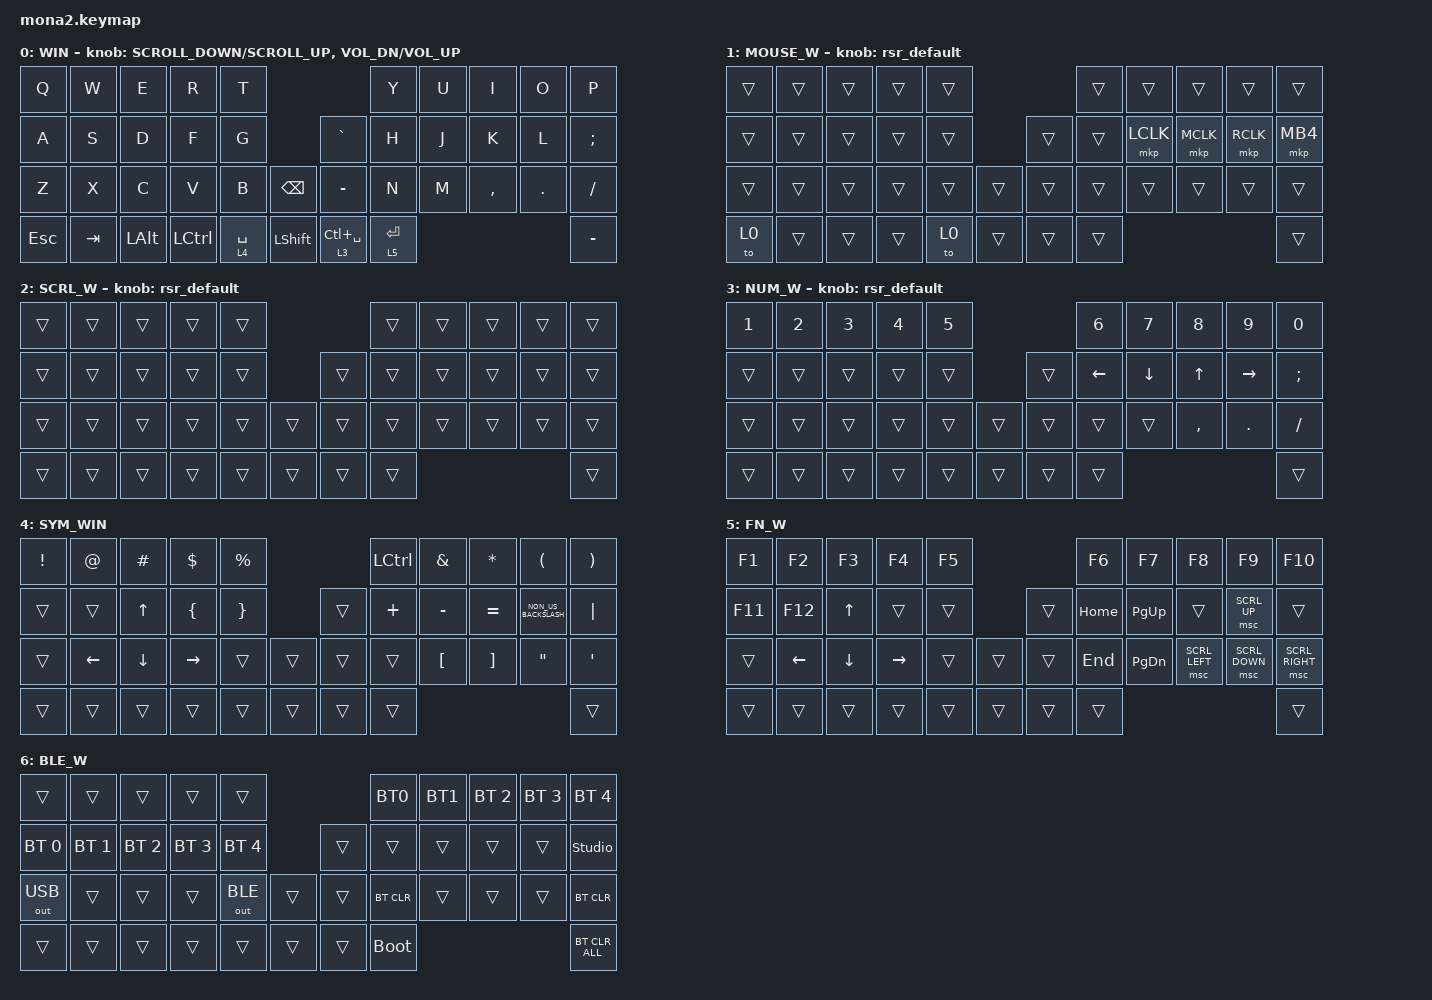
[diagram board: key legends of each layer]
#include <input/processors.dtsi>
#include <dt-bindings/zmk/input_transform.h>
#include <zephyr/dt-bindings/input/input-event-codes.h>
#include <behaviors/runtime-sensor-rotate.dtsi>

/* DYA Studio から作成したマクロを呼び出す `&rmacro <slot>` を定義する。
   slot は 0 〜 CONFIG_ZMK_RUNTIME_MACRO_COUNT-1 (現状 0〜7)。
   どのマクロがどのスロットに入っているかは DYA Studio のマクロ一覧で確認する。
   キーへの割り当ては DYA Studio のキーマップエディタからも行える。 */

#include <behaviors/runtime_macro.dtsi>

/* デフォルトレイヤー変更 behavior `&df`。
   DYA Studio の「OSごとのデフォルトレイヤー」から設定できるほか、
   キーマップエディタで `&df DF_SEL <layer>` / `&df DF_INC` を
   任意のキーに割り当てられる。 */

#include <behaviors/default_layer.dtsi>
#include <dt-bindings/zmk_behavior_default_layer/default_layer.h>
#include <behaviors.dtsi>
#include <dt-bindings/zmk/bt.h>
#include <dt-bindings/zmk/keys.h>
#include <dt-bindings/zmk/outputs.h>
#include <dt-bindings/zmk/pointing.h>

/* ZMK 側で 10 が定義済みなので警告回避のため一旦 undef */

#undef ZMK_POINTING_DEFAULT_SCRL_VAL

#define ZMK_POINTING_DEFAULT_SCRL_VAL 100

/ {
    behaviors {
        mg_set_0: behavior_mg_set_0 {
            compatible = "zmk,behavior-mg-set-fixed";
            #binding-cells = <0>;
            display-name = "Mouse Gesture Key 0";
        };

        mg_set_1: behavior_mg_set_1 {
            compatible = "zmk,behavior-mg-set-fixed";
            #binding-cells = <0>;
            display-name = "Mouse Gesture Key 1";
        };

        mg_set_2: behavior_mg_set_2 {
            compatible = "zmk,behavior-mg-set-fixed";
            #binding-cells = <0>;
            display-name = "Mouse Gesture Key 2";
        };
    };
};

&mt {
    flavor = "balanced";
    quick-tap-ms = <0>;
};

&lt {
    quick-tap-ms = <200>;
    flavor = "balanced";
};

&msc {
    delay-ms = <0>;
    time-to-max-speed-ms = <0>;
    acceleration-exponent = <0>;
};

/ {
    /* ─────────────────────────────────────────────────────────────
       コンボ (DYA Studio から編集可能)

       旧 `combos { compatible = "zmk,combos"; }` はコンパイル時固定で
       DYA Studio から編集できないため、zmk-feature-runtime-combo の
       「コンパイル時デフォルト」ノードへ移行した。
       ここに書いた内容はフラッシュ直後から有効で、設定を消しても復活する。
       DYA Studio 側で編集するとそのスロットだけ上書きされ、
       Web UI の "Reset to Default" でここの値へ戻せる。

       スロット総数は CONFIG_ZMK_RUNTIME_COMBO_MAX_COMBOS (現状 16)。
       未使用スロット (2〜15) は DYA Studio から自由に追加できる。
       ────────────────────────────────────────────────────────── */

    runtime_combo_defaults {
        compatible = "cormoran,runtime-combo-defaults";

        layer4_ESC {
            slot = <0>;
            display-name = "Layer4 ESC";
            key-positions = <38 39>;
            bindings = <&lt 4 ESC>;
        };

        tab {
            slot = <1>;
            display-name = "Tab";
            key-positions = <11 12>;
            bindings = <&kp TAB>;
        };
    };

    /* 静的マクロ。キーマップ上で &BT0 / &screenshot などの名前で直接
       参照しているため、そのまま残している (DYA Studio 上では編集不可)。
       DYA Studio から編集したいマクロは Web UI で新規作成し、
       キーに `&rmacro <slot>` を割り当てて使う。 */

    macros {
        to_layer_0: to_layer_0 {
            compatible = "zmk,behavior-macro-one-param";
            #binding-cells = <1>;
            bindings = <&to 0 &macro_param_1to1 &kp MACRO_PLACEHOLDER>;
            label = "TO_LAYER_0";
        };

        BT0: BT0 {
            compatible = "zmk,behavior-macro";
            #binding-cells = <0>;
            bindings =
                <&tog_off 0 &tog_off 0>,
                <&macro_wait_time 200>,
                <&bt BT_SEL 0>,
                <&macro_wait_time 500>,
                <&tog_on 0>;

            label = "BT0";
        };

        BT1: BT1 {
            compatible = "zmk,behavior-macro";
            #binding-cells = <0>;
            bindings =
                <&tog_off 0 &tog_off 0>,
                <&macro_wait_time 200>,
                <&bt BT_SEL 1>,
                <&macro_wait_time 500>,
                <&tog_on 0>;

            label = "BT1";
        };

        screenshot: screenshot {
            compatible = "zmk,behavior-macro";
            #binding-cells = <0>;
            bindings =
                <&macro_press>,
                <&kp LEFT_GUI &kp RSHIFT>,
                <&macro_wait_time 20>,
                <&macro_tap>,
                <&kp S>,
                <&macro_release>,
                <&kp LEFT_GUI &kp RSHIFT>;

            label = "SCREENSHOT";
        };

        henkan: henkan {
            compatible = "zmk,behavior-macro";
            #binding-cells = <0>;
            bindings =
                <&macro_press>,
                <&kp LEFT_ALT>,
                <&macro_wait_time 20>,
                <&macro_tap>,
                <&kp GRAVE>,
                <&macro_release>,
                <&kp LEFT_ALT>;

            label = "HENKAN";
        };
    };

    behaviors {
        lt_to_layer_0: lt_to_layer_0 {
            compatible = "zmk,behavior-hold-tap";
            label = "LAYER_TAP_TO_0";
            bindings = <&mo>, <&to_layer_0>;

            #binding-cells = <2>;
            tapping-term-ms = <200>;
        };

        tp_repeat_mo1: tp_repeat_mo1 {
            compatible = "zmk,behavior-hold-tap";
            label = "TP_REPEAT_MO1";
            bindings = <&mo>, <&key_repeat>;

            #binding-cells = <2>;
            tapping-term-ms = <200>;
        };

        // エンコーダ用 runtime-configurable sensor rotate
        // デフォルトはスクロール (cw=SCRL_DOWN, ccw=SCRL_UP)
        // DYA Studio Web UI から レイヤーごとに cw/ccw の binding を
        // kp C_VOL_UP/DN や kp LEFT/RIGHT などへ動的変更可能

        rsr_default: rsr_default {
            compatible = "zmk,behavior-runtime-sensor-rotate";
            #sensor-binding-cells = <0>;
            tap-ms = <16>;
            cw-binding = <&msc SCRL_DOWN>;
            ccw-binding = <&msc SCRL_UP>;
        };

        tog_on: toggle_layer_on_only {
            compatible = "zmk,behavior-toggle-layer";
            #binding-cells = <1>;
            display-name = "Toggle Layer On";
            toggle-mode = "on";
        };

        tog_off: toggle_layer_off_only {
            compatible = "zmk,behavior-toggle-layer";
            #binding-cells = <1>;
            display-name = "Toggle Layer Off";
            toggle-mode = "off";
        };

        zfold: zfold {
            compatible = "zmk,behavior-hold-tap";
            label = "ZFOLD";
            bindings = <&kp>, <&kp>;

            #binding-cells = <2>;
            tapping-term-ms = <300>;
            flavor = "hold-preferred";
            quick-tap-ms = <150>;
            hold-while-undecided;
        };

        zfoldZ: zfoldZ {
            compatible = "zmk,behavior-tap-dance";
            label = "ZFOLDZ";
            #binding-cells = <0>;
            bindings = <&zfold LEFT_SHIFT Z>, <&kp LS(Z)>;
        };
    };

    combos {
        compatible = "zmk,combos";

        BTLayer {
            bindings = <&lt 0 LEFT_SHIFT>;
            key-positions = <38 39>;
        };

        LGUI_Combo {
            bindings = <&kp LEFT_GUI>;
            key-positions = <21 22>;
        };

        RGUI_Combo {
            bindings = <&kp RIGHT_GUI>;
            key-positions = <32 31>;
        };

        Mouse_Keys {
            bindings = <&none>;
            key-positions = <17 18 19 20 38 37 36 33>;
        };
    };

    keymap {
        compatible = "zmk,keymap";

        win_layer {
            display-name = "WIN";
            bindings = <
&kp Q       &kp W    &kp E         &kp R             &kp T                                           &kp Y        &kp U  &kp I      &kp O    &kp P
&kp A       &kp S    &kp D         &kp F             &kp G                          &kp GRAVE        &kp H        &kp J  &kp K      &kp L    &kp SEMICOLON
&kp Z       &kp X    &kp C         &kp V             &kp B        &kp BACKSPACE     &kp MINUS        &kp N        &kp M  &kp COMMA  &kp DOT  &kp SLASH
&kp ESCAPE  &kp TAB  &kp LEFT_ALT  &kp LEFT_CONTROL  &lt 4 SPACE  &kp LEFT_SHIFT    &lt 3 LC(SPACE)  &lt 5 ENTER                             &kp MINUS
            >;

            sensor-bindings =
                <&inc_dec_kp K_SCROLL_DOWN K_SCROLL_UP>,
                <&inc_dec_kp C_VOL_DN C_VOL_UP>;
        };

        mouse_win {
            display-name = "MOUSE_W";
            bindings = <
&trans  &trans  &trans  &trans  &trans                    &trans  &trans     &trans     &trans     &trans
&trans  &trans  &trans  &trans  &trans            &trans  &trans  &mkp LCLK  &mkp MCLK  &mkp RCLK  &mkp MB4
&trans  &trans  &trans  &trans  &trans  &trans    &trans  &trans  &trans     &trans     &trans     &trans
&to 0   &trans  &trans  &trans  &to 0   &trans    &trans  &trans                                   &trans
            >;

            sensor-bindings = <&rsr_default>;
        };

        scroll_win {
            display-name = "SCRL_W";
            bindings = <
&trans  &trans  &trans  &trans  &trans                    &trans  &trans  &trans  &trans  &trans
&trans  &trans  &trans  &trans  &trans            &trans  &trans  &trans  &trans  &trans  &trans
&trans  &trans  &trans  &trans  &trans  &trans    &trans  &trans  &trans  &trans  &trans  &trans
&trans  &trans  &trans  &trans  &trans  &trans    &trans  &trans                          &trans
            >;

            sensor-bindings = <&rsr_default>;
        };

        num_win {
            display-name = "NUM_W";
            bindings = <
&kp NUMBER_1  &kp NUMBER_2  &kp NUMBER_3  &kp NUMBER_4  &kp NUMBER_5                    &kp NUMBER_6  &kp NUMBER_7    &kp NUMBER_8  &kp NUMBER_9     &kp NUMBER_0
&trans        &trans        &trans        &trans        &trans                  &trans  &kp LEFT      &kp DOWN_ARROW  &kp UP_ARROW  &kp RIGHT_ARROW  &kp SEMICOLON
&trans        &trans        &trans        &trans        &trans        &trans    &trans  &trans        &trans          &kp COMMA     &kp PERIOD       &kp SLASH
&trans        &trans        &trans        &trans        &trans        &trans    &trans  &trans                                                       &trans
            >;

            sensor-bindings = <&rsr_default>;
        };

        SYM_WIN {
            bindings = <
&kp EXCLAMATION  &kp AT_SIGN     &kp HASH        &kp DOLLAR       &kp PERCENT                        &kp LCTRL  &kp AMPERSAND     &kp ASTERISK       &kp LEFT_PARENTHESIS  &kp RIGHT_PARENTHESIS
&trans           &trans          &kp UP_ARROW    &kp LEFT_BRACE   &kp RIGHT_BRACE            &trans  &kp PLUS   &kp MINUS         &kp EQUAL          &kp NON_US_BACKSLASH  &kp PIPE
&trans           &kp LEFT_ARROW  &kp DOWN_ARROW  &kp RIGHT_ARROW  &trans           &trans    &trans  &trans     &kp LEFT_BRACKET  &kp RIGHT_BRACKET  &kp DOUBLE_QUOTES     &kp SQT
&trans           &trans          &trans          &trans           &trans           &trans    &trans  &trans                                                                &trans
            >;
        };

        function_win {
            display-name = "FN_W";
            bindings = <
&kp F1   &kp F2          &kp F3          &kp F4           &kp F5                    &kp F6    &kp F7         &kp F8          &kp F9          &kp F10
&kp F11  &kp F12         &kp UP_ARROW    &trans           &trans            &trans  &kp HOME  &kp PG_UP      &trans          &msc SCRL_UP    &trans
&trans   &kp LEFT_ARROW  &kp DOWN_ARROW  &kp RIGHT_ARROW  &trans  &trans    &trans  &kp END   &kp PAGE_DOWN  &msc SCRL_LEFT  &msc SCRL_DOWN  &msc SCRL_RIGHT
&trans   &trans          &trans          &trans           &trans  &trans    &trans  &trans                                                   &trans
            >;
        };

        ble_win {
            display-name = "BLE_W";
            bindings = <
&trans        &trans        &trans        &trans        &trans                          &BT0         &BT1    &bt BT_SEL 2  &bt BT_SEL 3  &bt BT_SEL 4
&bt BT_SEL 0  &bt BT_SEL 1  &bt BT_SEL 2  &bt BT_SEL 3  &bt BT_SEL 4            &trans  &trans       &trans  &trans        &trans        &studio_unlock
&out OUT_USB  &trans        &trans        &trans        &out OUT_BLE  &trans    &trans  &bt BT_CLR   &trans  &trans        &trans        &bt BT_CLR
&trans        &trans        &trans        &trans        &trans        &trans    &trans  &bootloader                                      &bt BT_CLR_ALL
            >;
        };
    };
};
